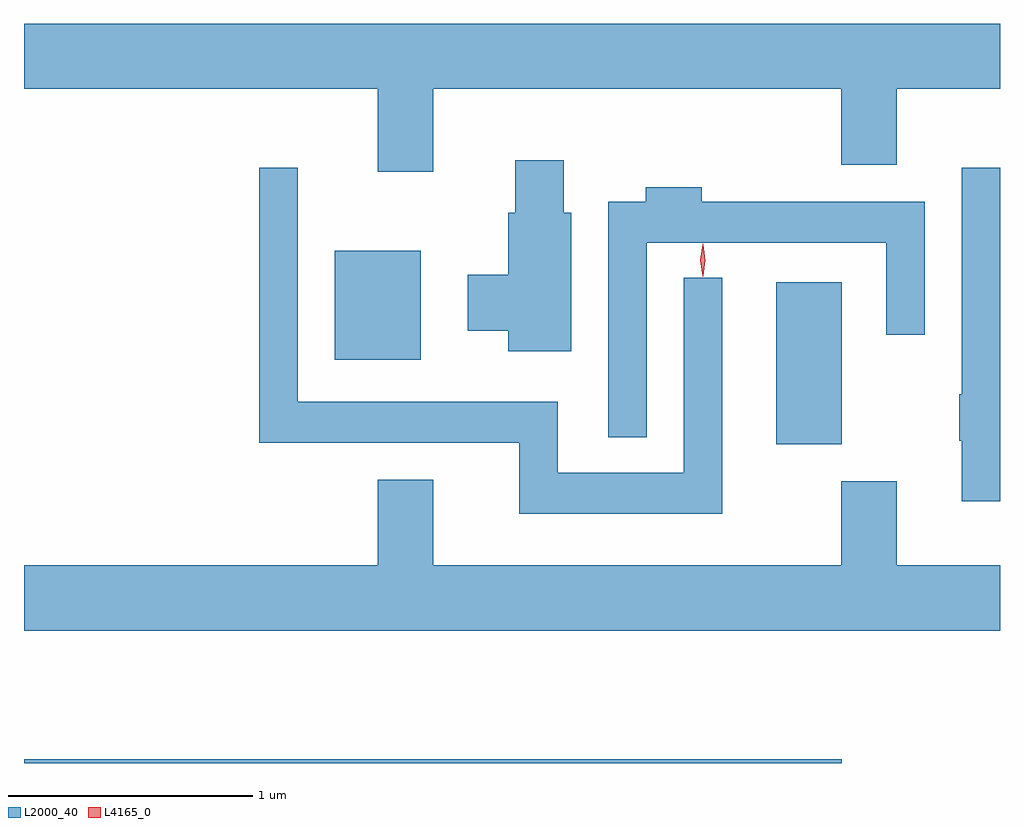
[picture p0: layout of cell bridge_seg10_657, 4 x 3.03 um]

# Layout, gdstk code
import gdstk
lib = gdstk.Library(unit=1e-6, precision=1e-09)
def R(c, l, rs):  # rectangles x0, y0, x1, y1
    for r in rs: c.add(gdstk.rectangle(r[:2], r[2:], *l))
def P(c, l, *ps):  # polygons
    for p in ps: c.add(gdstk.Polygon(p, *l))
L2000_40 = (2000, 40)
L4165_0 = (4165, 0)

bridge_seg10_657 = lib.new_cell('bridge_seg10_657')
R(bridge_seg10_657, L2000_40, [(1036.902,2095.612,1040.254,2095.629), (1039.986,2096.921,1040.254,2097.584), (1038.176,2097.266,1038.529,2097.714)])
P(bridge_seg10_657, L2000_40, [(1038.579,2098.376),(1040.251,2098.376),(1040.251,2098.066),(1040.479,2098.066),(1040.479,2098.376),(1040.902,2098.376),(1040.902,2098.644),(1036.902,2098.644),(1036.902,2098.376),(1038.351,2098.376),(1038.351,2098.036),(1038.579,2098.036)],
  [(1039.144,2097.869),(1039.114,2097.869),(1039.114,2098.084),(1038.916,2098.084),(1038.916,2097.869),(1038.886,2097.869),(1038.886,2097.614),(1038.721,2097.614),(1038.721,2097.386),(1038.886,2097.386),(1038.886,2097.301),(1039.144,2097.301)],
  [(1039.764,2097.603),(1039.606,2097.603),(1039.606,2096.804),(1039.089,2096.804),(1039.089,2097.094),(1038.024,2097.094),(1038.024,2098.053),(1037.866,2098.053),(1037.866,2096.926),(1038.931,2096.926),(1038.931,2096.636),(1039.764,2096.636)],
  [(1040.902,2098.053),(1040.746,2098.053),(1040.746,2097.125),(1040.736,2097.125),(1040.736,2096.935),(1040.746,2096.935),(1040.746,2096.686),(1040.902,2096.686)],
  [(1039.454,2097.746),(1040.436,2097.746),(1040.436,2097.368),(1040.594,2097.368),(1040.594,2097.914),(1039.679,2097.914),(1039.679,2097.974),(1039.451,2097.974),(1039.451,2097.914),(1039.296,2097.914),(1039.296,2096.948),(1039.454,2096.948)],
  [(1040.902,2096.424),(1040.479,2096.424),(1040.479,2096.769),(1040.251,2096.769),(1040.251,2096.424),(1038.579,2096.424),(1038.579,2096.774),(1038.351,2096.774),(1038.351,2096.424),(1036.902,2096.424),(1036.902,2096.156),(1040.902,2096.156)])
P(bridge_seg10_657, L4165_0, [(1039.684,2097.607),(1039.684,2097.608),(1039.674,2097.674),(1039.684,2097.74),(1039.684,2097.741),(1039.685,2097.74),(1039.694,2097.674),(1039.685,2097.608)])

lib.write_gds('bridge_seg10_657.gds')
